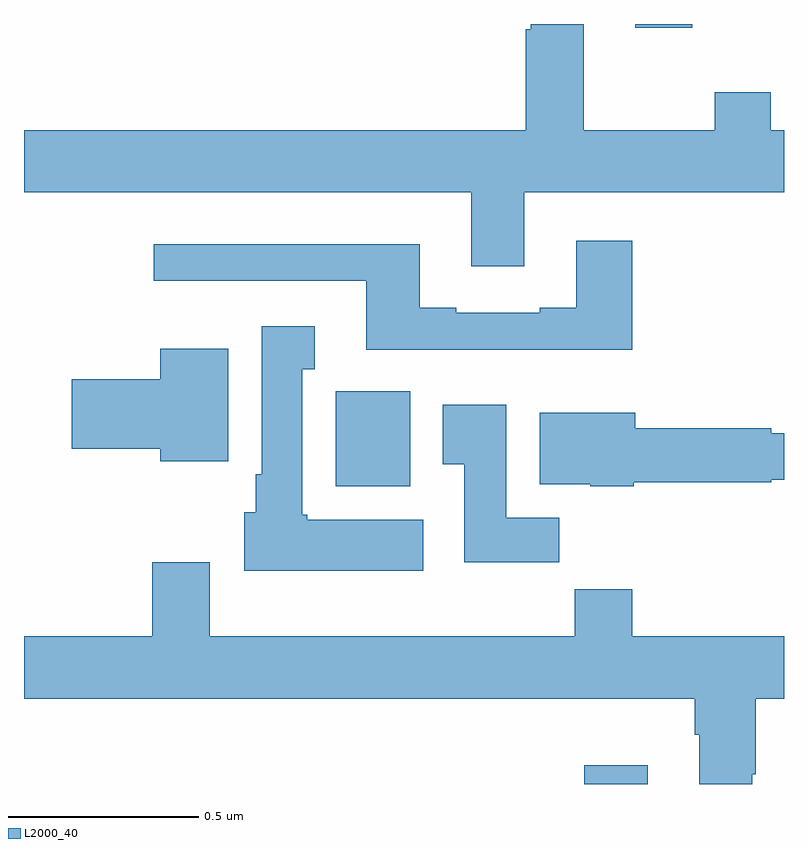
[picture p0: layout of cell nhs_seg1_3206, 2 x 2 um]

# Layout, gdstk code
import gdstk
lib = gdstk.Library(unit=1e-6, precision=1e-09)
def R(c, l, rs):  # rectangles x0, y0, x1, y1
    for r in rs: c.add(gdstk.rectangle(r[:2], r[2:], *l))
def P(c, l, *ps):  # polygons
    for p in ps: c.add(gdstk.Polygon(p, *l))
L2000_40 = (2000, 40)

nhs_seg1_3206 = lib.new_cell('nhs_seg1_3206')
R(nhs_seg1_3206, L2000_40, [(152.474,526.199,152.641,526.249), (151.821,526.982,152.017,527.232), (152.609,528.189,152.758,528.199)])
P(nhs_seg1_3206, L2000_40, [(152.317,527.756),(153,527.756),(153,527.92),(152.965,527.92),(152.965,528.019),(152.818,528.019),(152.818,527.92),(152.473,527.92),(152.473,528.199),(152.333,528.199),(152.333,528.185),(152.321,528.185),(152.321,527.92),(151,527.92),(151,527.756),(152.177,527.756),(152.177,527.562),(152.317,527.562)],
  [(152.601,527.629),(152.453,527.629),(152.453,527.452),(152.357,527.452),(152.357,527.439),(152.137,527.439),(152.137,527.452),(152.041,527.452),(152.041,527.62),(151.341,527.62),(151.341,527.523),(151.901,527.523),(151.901,527.342),(152.601,527.342)],
  [(152.05,526.894),(151.746,526.894),(151.746,526.908),(151.732,526.908),(151.732,527.291),(151.765,527.291),(151.765,527.404),(151.625,527.404),(151.625,527.014),(151.61,527.014),(151.61,526.914),(151.58,526.914),(151.58,526.76),(152.05,526.76)],
  [(151.537,527.344),(151.358,527.344),(151.358,527.264),(151.125,527.264),(151.125,527.081),(151.358,527.081),(151.358,527.048),(151.537,527.048)],
  [(152.408,526.9),(152.269,526.9),(152.269,527.197),(152.102,527.197),(152.102,527.041),(152.159,527.041),(152.159,526.782),(152.408,526.782)],
  [(152.604,526.993),(152.966,526.993),(152.966,527),(153,527),(153,527.122),(152.966,527.122),(152.966,527.135),(152.608,527.135),(152.608,527.176),(152.357,527.176),(152.357,526.988),(152.49,526.988),(152.49,526.982),(152.604,526.982)],
  [(152.917,526.225),(152.925,526.225),(152.925,526.424),(153,526.424),(153,526.588),(152.601,526.588),(152.601,526.712),(152.449,526.712),(152.449,526.588),(151.489,526.588),(151.489,526.783),(151.337,526.783),(151.337,526.588),(151,526.588),(151,526.424),(152.765,526.424),(152.765,526.328),(152.777,526.328),(152.777,526.199),(152.917,526.199)])

lib.write_gds('nhs_seg1_3206.gds')
